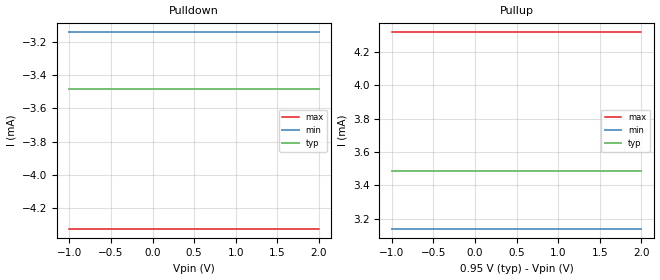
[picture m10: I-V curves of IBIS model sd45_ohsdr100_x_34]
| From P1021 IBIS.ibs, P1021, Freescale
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[Model]   sd45_ohsdr100_x_34
Model_type 3-state
Enable Active-High
Polarity Non-Inverting
|   TYP   MIN   MAX
C_comp   0.00pF   0.00pF   0.00pF
[Model Spec]
Vmeas   0.475   0.425   0.605
[Temperature Range] 65   125   -40
[Voltage Range]   0.95   0.85   1.21
[Pullup]
|   Vout(V)   TYP   WCS   BCS
-1V       3.486mA    3.14mA     4.319mA
2V        3.486mA    3.14mA     4.319mA
[Pulldown]
|   Vout(V)   TYP   WCS   BCS
-1V       -3.486mA   -3.142mA   -4.323mA
2V        -3.486mA   -3.142mA   -4.323mA
[GND Clamp]
|   Vout(V)   TYP   WCS   BCS
-1V       0A         0A         0A
1V        0A         0A         0A
[POWER Clamp]
|   Vout(V)   TYP   WCS   BCS
-1V       0A         0A         0A
0V        0A         0A         0A
[Ramp]
R_load=50
dV/dt_r  2.2428e-01/6.4141e-11  1.9173e-01/6.5657e-11  3.0370e-01/6.5055e-11
dV/dt_f  2.2428e-01/6.6042e-11  1.9173e-01/6.8481e-11  3.0372e-01/6.6195e-11
|[End   sd45_ohsdr100_x_34
